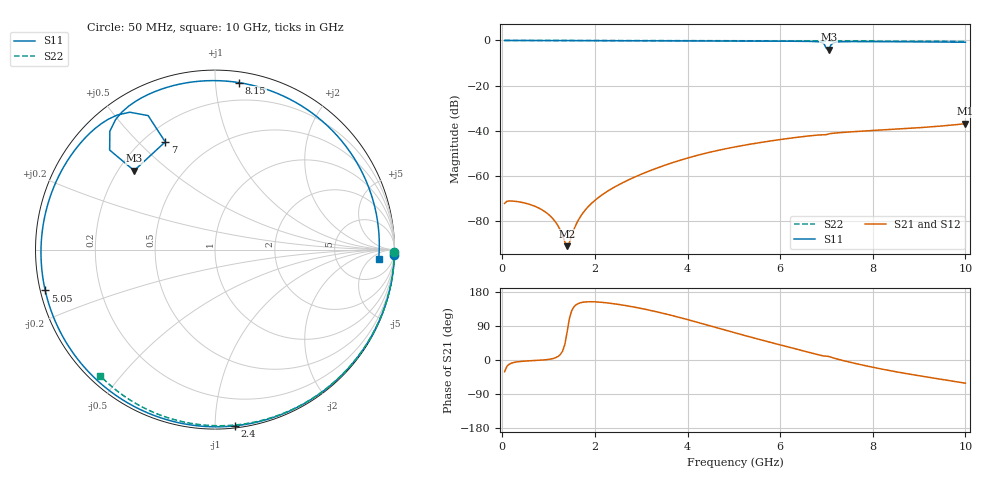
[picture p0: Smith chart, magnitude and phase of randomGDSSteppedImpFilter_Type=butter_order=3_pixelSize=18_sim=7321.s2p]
! freq	dB(S11)	phase(S11)	dB(S12)	phase(S12)
!  dB(S21)	phase(S21)	dB(S22)	phase(S22)
!S-par simulation data
#  GHz  S  DB  R 50
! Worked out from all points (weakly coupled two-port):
!   200 points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, 50 MHz to 10 GHz, reference 50 ohm
!   highest |S21| = -36.95 dB at 10 GHz (marker M1); lowest = -91.3 dB at 1.4 GHz (marker M2)
!   lowest |S11| = -4.0 dB at 7.05 GHz (marker M3), VSWR 4.40, Z = 13.1 + j19.2 ohm
!   |S11| at or under -10 dB: nowhere
!   |S22| runs from -0.4 to 0.0 dB; largest |S21 - S12| = 0
!   S11 on the Smith chart (normalised r, x): 50 MHz: 0, -63; 2.4 GHz: 0.01, -1.12; 5.05 GHz: 0.01, -0.12; 7 GHz: 0.28, +0.60; 8.15 GHz: 0.07, +1.15; 10 GHz: 15, -10
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0.05  -0.00 -1.8  -72.32 -30.8  -72.32 -30.8  -0.00 -0.8
0.55  -0.02 -19.9  -72.51 -2.4  -72.51 -2.4  -0.01 -8.4
1.15  -0.05 -41.2  -80.59 6.0  -80.59 6.0  -0.02 -17.4
1.4  -0.06 -49.9  -91.31 74.0  -91.31 74.0  -0.03 -21.2
1.6  -0.07 -56.7  -81.39 146.3  -81.39 146.3  -0.03 -24.1
1.75  -0.08 -61.8  -76.34 152.6  -76.34 152.6  -0.03 -26.4
2.4  -0.10 -83.4  -65.34 148.6  -65.34 148.6  -0.05 -35.9
3.4  -0.14 -115.2  -56.19 125.3  -56.19 125.3  -0.07 -50.2
4.25  -0.19 -141.5  -50.79 98.2  -50.79 98.2  -0.09 -61.9
5.05  -0.24 -166.5  -47.15 70.8  -47.15 70.8  -0.11 -72.6
5.95  -0.31 163.8  -44.13 41.5  -44.13 41.5  -0.14 -84.2
6.7  -0.45 134.7  -42.21 17.7  -42.21 17.7  -0.18 -93.6
6.9  -0.91 121.8  -41.90 11.6  -41.90 11.6  -0.19 -96.1
6.95  -1.57 116.5  -41.87 10.5  -41.87 10.5  -0.19 -96.7
7  -3.59 114.8  -41.78 10.2  -41.78 10.2  -0.20 -97.3
7.05  -4.02 135.7  -41.50 9.3  -41.50 9.3  -0.20 -97.9
7.1  -1.86 136.6  -41.29 7.3  -41.29 7.3  -0.20 -98.5
7.35  -0.57 118.3  -40.83 -1.2  -40.83 -1.2  -0.22 -101.5
8.15  -0.54 81.9  -39.78 -22.9  -39.78 -22.9  -0.27 -111.0
8.35  -0.56 72.9  -39.55 -27.6  -39.55 -27.6  -0.29 -113.4
9.25  -0.66 31.2  -38.35 -46.5  -38.35 -46.5  -0.37 -123.8
10  -0.79 -3.4  -36.95 -61.2  -36.95 -61.2  -0.44 -132.4
